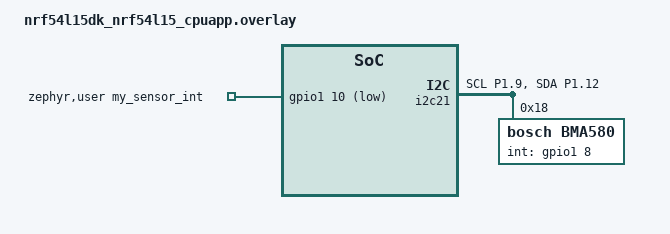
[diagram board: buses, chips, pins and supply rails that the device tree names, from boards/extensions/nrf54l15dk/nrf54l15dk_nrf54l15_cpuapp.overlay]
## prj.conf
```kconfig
# Needed for math.h
CONFIG_NEWLIB_LIBC=y
CONFIG_CBPRINTF_FP_SUPPORT=y
CONFIG_MULTITHREADING=y

# Enable Logging system
CONFIG_LOG=y
CONFIG_UART_CONSOLE=y
CONFIG_USE_SEGGER_RTT=y
CONFIG_RTT_CONSOLE=y
CONFIG_LOG_BACKEND_RTT=y

# Enable GPIO/PWM
CONFIG_PWM=y
CONFIG_NRFX_TIMER21=y
CONFIG_NRFX_PWM20=y
CONFIG_NRFX_PWM21=y


# Enable FPU on Cortex-M with single-precision (typical M4F/M33F)
# Enable the MCU FPU and context switching for threads that use it
CONFIG_FPU=y
CONFIG_FPU_SHARING=y          # allow any thread to use FP safely
CONFIG_FP_HARDABI=y  
# Give the system workqueue more room (our handler runs here)
CONFIG_SYSTEM_WORKQUEUE_STACK_SIZE=8196

CONFIG_ISR_STACK_SIZE=3072

# Idle stack size
CONFIG_IDLE_STACK_SIZE=512

# Enable CTS client
CONFIG_BT_CTS_CLIENT=y

#Enable BLE
CONFIG_BT=y
CONFIG_BT_PERIPHERAL=y
CONFIG_BT_DEVICE_NAME="InnerGize Gen 1"
# Enable Security Management Protocol
CONFIG_BT_SMP=y

# Enable the BMS service
CONFIG_BT_BMS=y

# Enable bonding
CONFIG_BT_SETTINGS=y
CONFIG_FLASH=y
CONFIG_FLASH_PAGE_LAYOUT=y
CONFIG_FLASH_MAP=y
CONFIG_NVS=y
CONFIG_SETTINGS_NVS=y
CONFIG_NVS_LOG_LEVEL_DBG=y
CONFIG_MPU_ALLOW_FLASH_WRITE=y

CONFIG_SETTINGS=y
CONFIG_NRFX_TEMP=y
CONFIG_MPU_ALLOW_FLASH_WRITE=y

CONFIG_BT_DIS=y
CONFIG_BT_MAX_PAIRED=100

# STEP 3.1 Enable support for Accept List filter and Privacy Features
CONFIG_BT_FILTER_ACCEPT_LIST=y
CONFIG_BT_PRIVACY=y


CONFIG_BT=y
CONFIG_BT_PERIPHERAL=y
CONFIG_BT_PERIPHERAL_PREF_MIN_INT=6
CONFIG_BT_PERIPHERAL_PREF_MAX_INT=6
CONFIG_BT_PERIPHERAL_PREF_LATENCY=99
CONFIG_BT_PERIPHERAL_PREF_TIMEOUT=400
CONFIG_BT_GAP_AUTO_UPDATE_CONN_PARAMS=y
# Appear as a Generic Human Interface Device
CONFIG_BT_DEVICE_APPEARANCE=960

CONFIG_BT_ADV_PROV=y
CONFIG_BT_ADV_PROV_FLAGS=y
CONFIG_BT_ADV_PROV_TX_POWER=y
CONFIG_BT_ADV_PROV_FAST_PAIR=y

CONFIG_BT_ADV_PROV_DEVICE_NAME=y
CONFIG_BT_ADV_PROV_DEVICE_NAME_SD=y
CONFIG_BT_ADV_PROV_GAP_APPEARANCE=y
CONFIG_BT_ADV_PROV_GAP_APPEARANCE_SD=y

# Align the advertised TX power with Fast Pair expectations.
# The value has been tailored for following DKs:
#   * nrf52dk/nrf52832
#   * nrf52833dk/nrf52833
#   * nrf52840dk/nrf52840
#   * nrf5340dk/nrf5340/cpuapp(/ns)
#   * nrf54h20dk/nrf54h20/cpuapp
CONFIG_BT_ADV_PROV_TX_POWER_CORRECTION_VAL=-15

# Disable automatic initiation of PHY updates.
# Workaround to prevent disconnection with reason 42 (BT_HCI_ERR_DIFF_TRANS_COLLISION).
# Some Android phones reply to the LL_PHY_REQ and at the same time initiate a connection
# update which triggers an invalid procedure collision.
CONFIG_BT_AUTO_PHY_UPDATE=n
CONFIG_BT_USER_PHY_UPDATE=y

CONFIG_BT_ID_MAX=1
CONFIG_BT_MAX_CONN=1
CONFIG_BT_MAX_PAIRED=8

CONFIG_BT_SMP=y
CONFIG_BT_PRIVACY=y
CONFIG_BT_RPA_TIMEOUT=960
CONFIG_BT_FAST_PAIR=y
CONFIG_BT_FAST_PAIR_USE_CASE_INPUT_DEVICE=y
CONFIG_BT_FAST_PAIR_BN=y

CONFIG_LOG=y
CONFIG_BT_FAST_PAIR_LOG_LEVEL_DBG=y

CONFIG_BT_HIDS=y
CONFIG_BT_HIDS_DEFAULT_PERM_RW_ENCRYPT=y
CONFIG_BT_CONN_CTX=y

# Enable BAS to comply with HID over GATT profile
CONFIG_BT_BAS=y

CONFIG_BT_GATT_CLIENT=y




# Fill DIS characteristic to comply with HID over GATT profile
CONFIG_BT_DIS_MANUF_NAME=y
CONFIG_BT_DIS_MANUF_NAME_STR="NordicSemiconductor"
CONFIG_BT_DIS_PNP=y
CONFIG_BT_DIS_PNP_VID_SRC=2
CONFIG_BT_DIS_PNP_VID=0x1915
CONFIG_BT_DIS_PNP_PID=0xEEED

#RSSI POWER CHANGE 

CONFIG_BT_CTLR_ADVANCED_FEATURES=y
CONFIG_BT_CTLR_CONN_RSSI=y
CONFIG_BT_CTLR_TX_PWR_DYNAMIC_CONTROL=y



# to use internal 32 kHz crystal
CONFIG_CLOCK_CONTROL_NRF_K32SRC_RC=y
CONFIG_CLOCK_CONTROL_NRF_K32SRC_500PPM=y
CONFIG_CLOCK_CONTROL_NRF_K32SRC_RC_CALIBRATION=y
CONFIG_CLOCK_CONTROL_NRF_CALIBRATION_LF_ALWAYS_ON=y


# STEP 2.1 Enable support for Energy Monitoring and Power Management
CONFIG_PM_DEVICE=y
CONFIG_GPIO=y
CONFIG_CRC=y
CONFIG_POWEROFF=y
CONFIG_HWINFO=y

#ADC 
CONFIG_ADC=y
CONFIG_NRFX_SAADC=y

# Enable the WDT module
CONFIG_WDT_LOG_LEVEL_DBG=y
CONFIG_WATCHDOG=y
CONFIG_WDT_DISABLE_AT_BOOT=n

CONFIG_BT_CTLR_TX_PWR_PLUS_8=y




# Enable MCUmgr and dependencies.

CONFIG_STREAM_FLASH=y
CONFIG_FLASH_MAP=y

# Some command handlers require a large stack.
CONFIG_SYSTEM_WORKQUEUE_STACK_SIZE=2304
CONFIG_MAIN_STACK_SIZE=2048
CONFIG_BT_RX_STACK_SIZE=2048




# Required by the `taskstat` command.
CONFIG_THREAD_MONITOR=y

# Support for taskstat command



# Enable statistics and statistic names.
CONFIG_STATS=y
CONFIG_STATS_NAMES=y

# Enable most core commands.
CONFIG_FLASH=y




# Allow for large Bluetooth data packets.
CONFIG_BT_USER_DATA_LEN_UPDATE=y
CONFIG_BT_L2CAP_TX_MTU=498
CONFIG_BT_BUF_ACL_RX_SIZE=502
CONFIG_BT_BUF_ACL_TX_SIZE=502
CONFIG_BT_CTLR_DATA_LENGTH_MAX=251


# Enable the Shell mcumgr transport.
CONFIG_BASE64=y
CONFIG_SHELL=y
CONFIG_SHELL_BACKEND_SERIAL=y
CONFIG_MCUMGR_TRANSPORT_SHELL=y
CONFIG_MCUMGR_TRANSPORT_SHELL_RX_BUF_COUNT=8



# Disable Bluetooth ping support
CONFIG_BT_CTLR_LE_PING=n

# Disable shell commands that are not needed
CONFIG_CLOCK_CONTROL_NRF_SHELL=n
CONFIG_DEVICE_SHELL=n
CONFIG_DEVMEM_SHELL=n
CONFIG_FLASH_SHELL=n




CONFIG_NRFX_GRTC=y



CONFIG_SHELL=y
CONFIG_LOG=y
CONFIG_LED=y
CONFIG_GPIO=y
CONFIG_REGULATOR=y
CONFIG_SENSOR=y
CONFIG_I2C_SHELL=y
CONFIG_LOG_CMDS=y
CONFIG_NRF_FUEL_GAUGE=y
CONFIG_NRF_FUEL_GAUGE_VARIANT_SECONDARY_CELL=y
CONFIG_REQUIRES_FLOAT_PRINTF=y


# Enable POSIX API support
CONFIG_POSIX_API=y

# Enable POSIX clock functions (like clock_gettime)
CONFIG_POSIX_CLOCK=y

# Enable the counter API
CONFIG_COUNTER=y


# configs for OTA # pj_change
CONFIG_BOOTLOADER_MCUBOOT=y

CONFIG_MCUMGR=y
CONFIG_IMG_MANAGER=y
CONFIG_MCUMGR_GRP_IMG=y

CONFIG_NET_BUF=y
CONFIG_ZCBOR=y

CONFIG_MCUMGR_TRANSPORT_BT=y
CONFIG_MCUMGR_TRANSPORT_BT_PERM_RW=y
CONFIG_MCUMGR_TRANSPORT_BT_REASSEMBLY=y
CONFIG_MCUMGR_TRANSPORT_NETBUF_SIZE=2475
```

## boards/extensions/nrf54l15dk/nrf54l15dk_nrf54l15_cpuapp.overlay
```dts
/*
 * Copyright (c) 2024 Nordic Semiconductor ASA
 *
 * SPDX-License-Identifier: LicenseRef-Nordic-5-Clause
 */

/* Define arduino_i2c here so it is available for the shield overlay */
arduino_i2c: &i2c21 {
	compatible = "nordic,nrf-twim";
	
};

&i2c21 {
    status = "okay";
    pinctrl-0 = <&i2c21_default>;
    pinctrl-1 = <&i2c21_sleep>;
    pinctrl-names = "default", "sleep";

	bma580@18 {
        compatible = "bosch,bma580";
        reg = <0x18>;
        int-gpios = <&gpio1 8 GPIO_ACTIVE_HIGH>;
    };
};


&pinctrl {
	/omit-if-no-ref/ i2c21_default: i2c21_default {
		group1 {
			psels = <NRF_PSEL(TWIM_SCL, 1, 9)>,
				    <NRF_PSEL(TWIM_SDA, 1, 12)>;
		};
	};
    /omit-if-no-ref/ i2c21_sleep: i2c21_sleep {
		group1 {
			psels = <NRF_PSEL(TWIM_SCL, 1, 9)>,
				    <NRF_PSEL(TWIM_SDA, 1, 12)>;
		};
	};
};



/* App-owned properties you can read from code */
 / {
	zephyr,user {
		/* IRQ on P0.09, active-low, with internal pull-up */
		my_sensor_int_gpios = <&gpio1 10 (GPIO_ACTIVE_LOW | GPIO_PULL_UP)>;
	};
};
```

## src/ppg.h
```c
#ifndef PPG_H
#define PPG_H

#include <zephyr/kernel.h>
#include <zephyr/device.h>

/* 1. Define the states for PPG manager */
typedef enum {
    PPG_STATE_OFF,
    PPG_STATE_MEASURING,
} ppg_state_t;

/* 2. Define the commands for the message queue */
typedef enum {
    PPG_CMD_BLE_START,
    PPG_CMD_BLE_STOP,
    PPG_CMD_INTERNAL_FIFO_READY,
} ppg_cmd_t;

/* 3. Define the message queue */
// The message queue will hold one 'ppg_cmd_t' message at a time.
extern struct k_msgq ppg_cmd_q;

/* 4. BLE functions - separate characteristics in same service */
extern void ble_send_ppg_data(const uint8_t *data, uint16_t length);        // Raw PPG data characteristic
extern void ble_send_hrv_features_data(const uint8_t *data, uint16_t length); // HRV features characteristic

/* 5. Flash read pause/resume functions */
extern void ppg_pause_for_flash_read(void);   // Pause PPG processing during flash read
extern void ppg_resume_after_flash_read(void); // Resume PPG processing after flash read

#endif // PPG_H
```

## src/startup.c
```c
#include <zephyr/kernel.h>
#include <zephyr/logging/log.h>
#include <zephyr/drivers/gpio.h>
#include <zephyr/drivers/pwm.h>
#include <hal/nrf_gpio.h>
#include <zephyr/drivers/adc.h>
#include <zephyr/pm/pm.h>

#include "startup.h"
#include "ems_engine.h"
#include "core_types.h"
#include "io_adapter.h"
#include "watchdog_heartbeat.h"

LOG_MODULE_REGISTER(MAIN, LOG_LEVEL_DBG);

#define BLE_CONNECTION_STATE_NO_CONNECTION   -1
#define BLE_CONNECTION_STATE_DISCONNECTED     0
#define BLE_CONNECTION_STATE_CONNECTED        1
#define NUM_STEPS                             50U
#define SLEEP_MSEC                            25U
#define SLEEP_TIME_MS                         1000
#define ADC_CHANNEL_1                         1

#define GPIO_PIN                              NRF_GPIO_PIN_MAP(0, 5)
#define GPIO_PIN1                             NRF_GPIO_PIN_MAP(0, 25)
#define DEFAULT_SESSION_TIME_SECONDS          1200

#if !DT_NODE_EXISTS(DT_PATH(zephyr_user)) || \
    !DT_NODE_HAS_PROP(DT_PATH(zephyr_user), io_channels)
#error "No suitable devicetree overlay specified"
#endif

#define DT_SPEC_AND_COMMA(node_id, prop, idx) \
    ADC_DT_SPEC_GET_BY_IDX(node_id, idx),

// Get the ADC channels from the devicetree
const struct adc_dt_spec adc_channels[] = {
    DT_FOREACH_PROP_ELEM(DT_PATH(zephyr_user), io_channels,
    DT_SPEC_AND_COMMA)
};

static void session_timer_exp_cb(struct k_timer *timer);

static void adjust_pwm_timer_exp_cb(struct k_timer *timer);

uint32_t standby_counter;
volatile bool ems_session_running = false;
bool in_standby = false;
static int increment;

int8_t ble_connection_state = BLE_CONNECTION_STATE_NO_CONNECTION;

extern struct k_msgq ble_msgq;

struct main_msg_data data;

struct ble_msg *temp_msg = &data.data.ble;

K_MSGQ_DEFINE(main_msgq, sizeof(struct main_msg_data), 5, 4);

K_TIMER_DEFINE(session_timer, session_timer_exp_cb, NULL); // Timer for the session timer callback
K_TIMER_DEFINE(adjust_pwm_timer, adjust_pwm_timer_exp_cb, NULL);


// Struct for storing the EMS parameters like on-time, off-time, duty cycle, etc.
struct ems_def current_ems = {
    .status = {
        .control = 0,
        .session = {0},
    },
    .channels = {
        .chan0 = {.on_time = 450, .off_time = 1910},
        .chan1 = {.on_time = (6.25 * NSEC_PER_USEC), .interval = (50 * USEC_PER_MSEC)},
        .chan2 = {.duty_cycle = 50},
        .chan3 = {.duty_cycle = 50}
    }
};

// Function to update the BLE message queue
static void update_ble(struct ble_msg *msg) {
    k_msgq_put(&ble_msgq, msg, K_NO_WAIT);
}

// Timer function to turn off the EMS after the user-specified time
static void session_timer_exp_cb(struct k_timer *timer) {
    struct ble_msg control_session_msg = {0};
    if (disconnect_reason == 19) { // If user disconnected the device manually, then stop the EMS
        current_ems.status.session.current_session_len = 0;
        current_ems.status.control = 0;
        LOG_INF("EMS disabled");
        ems_pwm_toggle(0);
        ems_session_running = false;
        LOG_DBG("Function called to stop EMS");
        disconnect_reason = 0;
    }

    if (current_ems.status.control == 1) {
        current_ems.status.session.current_session_len++;
        LOG_DBG("EMS session %u, target %u", current_ems.status.session.current_session_len, current_ems.status.session.target_session_len);

        // If the session length is greater than the target session length, then turn off the EMS
        if ((current_ems.status.session.target_session_len > 0) &&
            (current_ems.status.session.current_session_len > current_ems.status.session.target_session_len)) {
            current_ems.status.control = 0;
            LOG_DBG("End EMS Session");
           // stop_green_led_thread();
            //start_green_led_thread(1000000);
            ems_session_running = false;
            ems_pwm_toggle(0);
        }
    }

    control_session_msg.id = BLE_MSG_ID_EMS_CONTROL;
    memcpy(&control_session_msg.data.ems, &current_ems, sizeof(current_ems)); // Copy the EMS parameters to the BLE message
    update_ble(&control_session_msg); // Update the BLE message queue

    //IF THE DEVICE IS NOT CONNECTED THEN INCREMENT THE STANDBY COUNTER
    if(ble_connection_state != BLE_CONNECTION_STATE_CONNECTED){
        standby_counter++;
            //LOG_INF("STANDBY %u", standby_counter);
    }
    //PUTS DEVICE TO SLEEP IF NO DEVICE CONNECTED FOR 5 MINUTES
     if(ble_connection_state != BLE_CONNECTION_STATE_CONNECTED && standby_counter > 300 && ems_session_running == false ){
    
            LOG_INF("Enter standby mode");
            nrf_gpio_pin_clear(GPIO_PIN);
            nrf_gpio_pin_clear(GPIO_PIN1);
    
    }
}

// Calculates the step size for INCREASING the on-time
static int on_time_increment_func() {
    uint32_t difference = temp_msg->data.ems.status.ontime - ems_intensity_data.PWM_ON_TIME;
    if (difference <= 10) {
        return 1;
    } else if (difference > 10 && difference <= 25) {
        return 3;
    } else if (difference > 25) {
        return 5;
    }
    return 0; // Should not be reached if called correctly
}

// Calculates the step size for DECREASING the on-time
static int on_time_decrement_func() {
    uint32_t difference = ems_intensity_data.PWM_ON_TIME - temp_msg->data.ems.status.ontime;
    if (difference <= 10) {
        return 1;
    } else if (difference > 10 && difference <= 25) {
        return 3;
    } else if (difference > 25) {
        return 5;
    }
    return 0; // Should not be reached if called correctly
}

// Function to gradually change the PWM_ON_TIME (handles both increase and decrease)
static void adjust_pwm_on_time() {
    // This static variable will hold the step value (positive or negative)
    // and retain it between timer callbacks for a single adjustment operation.
    static int step_value = 0;

    // If step_value is 0, a new adjustment has started. Calculate the direction and step size.
    if (step_value == 0) {
        // Case 1: Target is HIGHER than current -> We need to INCREASE
        if (ems_intensity_data.PWM_ON_TIME < temp_msg->data.ems.status.ontime) {
            step_value = on_time_increment_func();
        }
        // Case 2: Target is LOWER than current -> We need to DECREASE
        else if (ems_intensity_data.PWM_ON_TIME > temp_msg->data.ems.status.ontime) {
            // Get the step size and make it negative for subtraction
            step_value = -on_time_decrement_func();
        }
        // Case 3: Target is already met (or no change needed)
        else {
            k_timer_stop(&adjust_pwm_timer);
            return;
        }
    }

    // Apply the step (either adds or subtracts based on the sign of step_value)
    ems_intensity_data.PWM_ON_TIME += step_value;

    // Check if the target has been reached or passed
    bool target_reached = false;
    if (step_value > 0 && ems_intensity_data.PWM_ON_TIME >= temp_msg->data.ems.status.ontime) {
        // If increasing, stop when current is >= target
        target_reached = true;
    } else if (step_value < 0 && ems_intensity_data.PWM_ON_TIME <= temp_msg->data.ems.status.ontime) {
        // If decreasing, stop when current is <= target
        target_reached = true;
    }

    // If the target is reached, finalize the value and stop the timer
    if (target_reached) {
        step_value = 0; // Reset for the next command
        k_timer_stop(&adjust_pwm_timer);
        // Set the value exactly to the target to prevent overshooting
        ems_intensity_data.PWM_ON_TIME = temp_msg->data.ems.status.ontime;
    }

    // Enforce boundaries for the PWM value
    if (ems_intensity_data.PWM_ON_TIME > 100) {
        ems_intensity_data.PWM_ON_TIME = 100; // Cap at 100
    }
    // Since PWM_ON_TIME is likely unsigned, a check for < 0 is not needed,
    // but if it were a signed type, you would add:
    if (ems_intensity_data.PWM_ON_TIME < 0) {
        ems_intensity_data.PWM_ON_TIME = 0;
    }

    // Update the actual PWM hardware with the new value
    ems_pwm_update_params(1, PWM_USEC(ems_intensity_data.PWM_ON_TIME), 0, current_ems.channels.chan1.interval * NSEC_PER_USEC);
}

// Timer function to adjust PWM_ON_TIME every 20 seconds
static void adjust_pwm_timer_exp_cb(struct k_timer *timer) {
    adjust_pwm_on_time();
}

// Function to turn EMS on and off
static void ems_control_cmd_handle(uint8_t control) {
    if (control) {
        // Enable EMS
        initial_value = batt_val_mv;
        current_ems.status.session.current_session_len = 0;
        current_ems.status.control = 1;
        ems_pwm_toggle(1);
        //stop_green_led_thread();
        //start_green_led_thread(10000);
        LOG_INF("EMS enabled");
        current_ems.status.session.target_session_len = DEFAULT_SESSION_TIME_SECONDS; // Turn off EMS automatically after 20 minutes
        ems_session_running = true;
    } 
    else {
        current_ems.status.session.current_session_len = 0;
        current_ems.status.control = 0;
        LOG_INF("EMS disabled");
        ems_pwm_toggle(0);
        //stop_green_led_thread();
        //start_green_led_thread(1000000);
        ems_session_running = false;
    }
}

// Function to update the EMS parameters included in the EMS service 
static void ems_chan_cmd_handle(uint8_t channel, struct pwm_channel_data *chan_data) {
    switch (channel) {
        case BLE_MSG_ID_EMS_CHAN1_CONTROL: {
            ems_pwm_update_params(0, chan_data->chan0.on_time * NSEC_PER_MSEC, chan_data->chan0.off_time * NSEC_PER_MSEC, 0);
            memcpy(&current_ems.channels.chan0, &chan_data->chan0, sizeof(current_ems.channels.chan0));
            LOG_DBG("Chan0 update on_time: %u, off_time: %u", current_ems.channels.chan0.on_time, current_ems.channels.chan0.off_time);
            break;
        }
        case BLE_MSG_ID_EMS_CHAN2_CONTROL: {
            ems_pwm_update_params(1, chan_data->chan1.on_time, 0, chan_data->chan1.interval * NSEC_PER_USEC);
            memcpy(&current_ems.channels.chan1, &chan_data->chan1, sizeof(current_ems.channels.chan1));
            LOG_DBG("Chan1 update on_time: %u, interval: %u", current_ems.channels.chan1.on_time, current_ems.channels.chan1.interval);
            break;
        }
        case BLE_MSG_ID_EMS_CHAN3_CONTROL: {
            ems_pwm_update_params(2, chan_data->chan2.duty_cycle, 0, 0);
            memcpy(&current_ems.channels.chan2, &chan_data->chan2, sizeof(current_ems.channels.chan2));
            LOG_DBG("Chan2 update duty_cycle: %d", current_ems.channels.chan2.duty_cycle);
            break;
        }
        case BLE_MSG_ID_EMS_CHAN4_CONTROL: {
            ems_pwm_update_params(3, chan_data->chan3.duty_cycle, 0, 0);
            memcpy(&current_ems.channels.chan3, &chan_data->chan3, sizeof(current_ems.channels.chan3));
            LOG_DBG("Chan3 update duty_cycle: %d", current_ems.channels.chan3.duty_cycle);
            break;
        }
        default: {
            break;
        }
    }
}

int main(void) {

  register_thread(k_current_get());

    nrf_gpio_cfg_output(GPIO_PIN);
    nrf_gpio_cfg_output(GPIO_PIN1);

    nrf_gpio_pin_set(GPIO_PIN);
    nrf_gpio_pin_set(GPIO_PIN1);

    //LOG_INF("VALUE OF TEMP SENSOR %f",read_cpu_temp_sensor());
    ems_pwm_init(); // Initializes the PWM

    k_timer_start(&session_timer, K_SECONDS(1), K_SECONDS(1)); // Starts the timer


    while (1) {
        
       int ret = k_msgq_get(&main_msgq, &data, K_MSEC(100));

        heartbeat(); // Report healthy every loop
        
        if (ret == 0) {
        // If the data source is BLE, then handle the BLE messages
        if (data.src == MAIN_MSG_DATA_SRC_BLE) {
            // Switch case to handle the BLE messages
            switch (temp_msg->id) {
                case BLE_MSG_ID_EMS_CONTROL: {
                    if(temp_msg->data.ems.status.control == 1){
                        RelaxMode();
                    }
                    else if(temp_msg->data.ems.status.control == 2){
                        SleepMode();
                    }
                    else if(temp_msg->data.ems.status.control == 3){
                        BreathMode();
                    }
                    ems_control_cmd_handle(temp_msg->data.ems.status.control);
                    LOG_INF("EMS control CALLED");
                    break;
                }
                case BLE_MSG_ID_EMS_SESSION: {
                    current_ems.status.session.current_session_len = 0;
                    current_ems.status.session.target_session_len = temp_msg->data.ems.status.session.target_session_len; // uint32 big endian
                    break;
                }
                case BLE_MSG_ID_PWM_PERIOD: {
                    ems_intensity_data.PWM_PERIOD = temp_msg->data.ems.status.period;
                    break;
                }
                case BLE_MSG_ID_PWM_ONTIME: {
                    // Start the timer to adjust PWM_ON_TIME every 20 seconds
                    k_timer_start(&adjust_pwm_timer, K_SECONDS(2), K_SECONDS(2));
                    break;
                }
                case BLE_MSG_ID_PWM_INTERVAL: {
                    ems_intensity_data.PWM_INTERVAL = temp_msg->data.ems.status.interval;
                    break;
                }
                case BLE_MSG_ID_PWM_DURATION: {
                    ems_intensity_data.PWM_DURATION = temp_msg->data.ems.status.duration;
                    break;
                }
                case BLE_MSG_ID_CHAN0_PLAYBACK_COUNT: {
                    ems_intensity_data.CHAN0_PLAYBACK = temp_msg->data.ems.status.chan0playback;


                    break;
                }
                case BLE_MSG_ID_CHAN0_INUCT_DURATION: {
                    ems_intensity_data.CHAN0_INDUCTOR = temp_msg->data.ems.status.chan0inductor;

                    break;
                }
                 case BLE_MSG_ID_CHAN0_ON_DURATION: {
                    ems_intensity_data.CHAN0_DURATION = temp_msg->data.ems.status.chan0ontime;
                  chan0_para_update();

                    break;
                }
                case BLE_MSG_ID_CHAN0_DURATION: {
                    ems_intensity_data.CHAN0_ON_DURATION = temp_msg->data.ems.status.chan0time;
                    chan0_para_update();
                    break;
                }
                case BLE_MSG_ID_CHAN23_PWM_PERIOD_NS: {
                    ems_intensity_data.PWM23_DURATION = 25*(temp_msg->data.ems.status.pwm23time);
                    //CHAN23_PWM_DEFAULT_PERIOD_NS = temp_msg->data.ems.status.pwm23time;
                    //LOG_INF("VALUE OF CHAN 23 IN BLE STACK  %u", temp_msg->data.ems.status.pwm23time );
                    //LOG_INF("VALUE OF CHAN 23 %u", ems_intensity_data.PWM23_DURATION );
                    chan23reset();

                    break;
                }
                case BLE_MSG_ID_CHAN23_PWM_ON_TIME_NS: {
                    ems_intensity_data.PWM23_ON_DURATION = 25*(temp_msg->data.ems.status.pwm23ontime);
                    //CHAN23_PWM_DEFAULT_ON_TIME_NS= temp_msg->data.ems.status.pwm23ontime;
                    //LOG_INF("VALUE OF CHAN 23ONM in ble stack %u", temp_msg->data.ems.status.pwm23ontime);
                    //LOG_INF("VALUE OF CHAN 23ON %u", ems_intensity_data.PWM23_ON_DURATION );
                    chan23reset();
                    break;
                }
                case BLE_MSG_ID_CHARGER_ON_OFF: {
                    if(temp_msg->data.ems.status.chargeronoff == 5)
                    {
                         nrf_gpio_pin_clear(GPIO_PIN);
                         nrf_gpio_pin_clear(GPIO_PIN1);
                    }
                    break;
                }
                case BLE_MSG_ID_CONNECTED: {
                    ble_connection_state = BLE_CONNECTION_STATE_CONNECTED;
                    standby_counter = 0;
                    break;
                }
                case BLE_MSG_ID_DISCONNECTED: {
                    ble_connection_state = BLE_CONNECTION_STATE_DISCONNECTED;
                    standby_counter = 0;
                    LOG_DBG("BLE disconnected");
                    k_timer_stop(&adjust_pwm_timer);
                    break;
                }
                default: {
                    break;
                }
            }
        }
    }
    }
    return 0;
}
```
